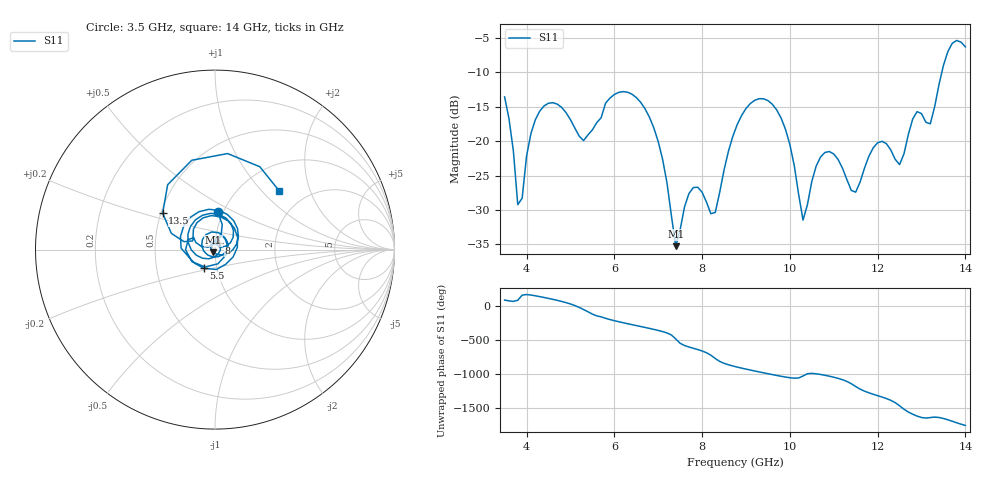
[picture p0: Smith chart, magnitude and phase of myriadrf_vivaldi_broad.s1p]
! Touchstone file exported from HFSS 2023.1.0
!  File:  D:/codex_workspace/hfss_ura16_quick_model/hfss_outputs/v148_reference_element_import_20260812_run01/myriadrf_vivaldi_calibration_run03_port_mesh/nominal_direct/v148_myriadrf_vivaldi_nominal_direct.aedt
!  Generated:  12:55:01 %x4E0B%x5348  8%x6708 12, 2026
!  Design:  V148_MyriadRF_Vivaldi_Calibration_1x1
!  Project:  v148_myriadrf_vivaldi_nominal_direct
!  Setup:  Setup_10GHz
!  Solution:  Sweep_Broad
# GHz S MA R 50.000000
! Terminal data exported
! Port[1] = P1
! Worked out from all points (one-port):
!   106 points, 3.5 GHz to 14 GHz, reference 50 ohm
!   lowest |S11| = -35.2 dB at 7.4 GHz (marker M1), VSWR 1.04, Z = 49 - j1.37 ohm
!   |S11| at or under -10 dB: start of sweep to 13.46 GHz
!   S11 on the Smith chart (normalised r, x): 3.5 GHz: 0.94, +0.41; 5.5 GHz: 0.87, -0.18; 8 GHz: 1.04, +0.08; 13.5 GHz: 0.51, +0.24; 14 GHz: 1.46, +1.26
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3.5  0.2099 85.9
3.7  0.08489 66.5
3.8  0.0346 82.6
4.3  0.1654 136.6
4.9  0.1614 48.1
5.3  0.1011 -53.8
5.5  0.1209 -120.9
6.2  0.2293 113.0
6.9  0.125 14.7
7.4  0.01728 -126.0
7.5  0.02275 170.4
7.7  0.04164 116.1
8  0.04265 57.6
8.3  0.03039 -53.4
8.8  0.132 -179.3
9.5  0.1974 83.4
10.1  0.06664 17.7
10.3  0.02674 49.8
10.8  0.08293 60.2
11.4  0.04395 -63.8
12.2  0.09605 78.0
12.5  0.06766 -27.9
12.7  0.1119 -120.0
12.9  0.1641 -179.9
13.2  0.1337 158.9
13.5  0.3555 145.1
13.8  0.5396 82.5
14  0.485 42.7
